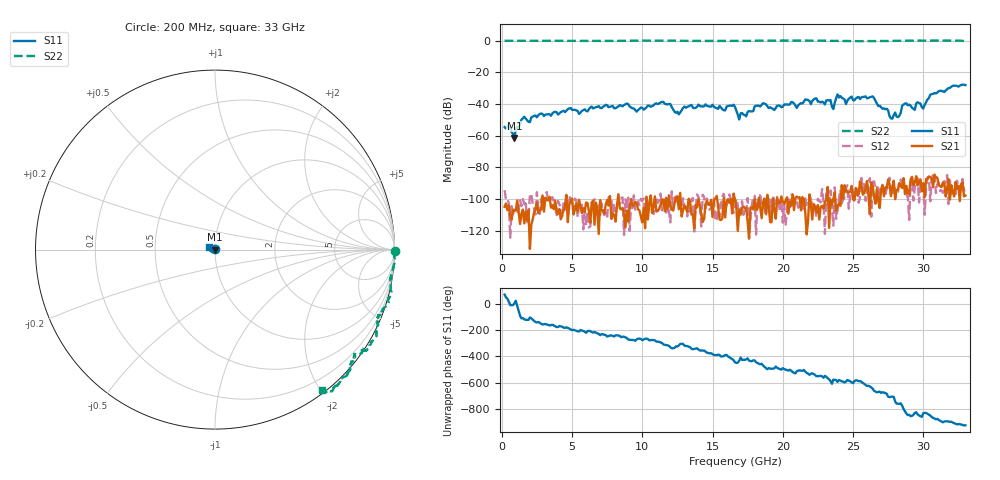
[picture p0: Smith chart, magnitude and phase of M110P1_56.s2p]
# GHZ S RI R 50
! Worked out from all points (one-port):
!   329 points, 200 MHz to 33 GHz, reference 50 ohm
!   lowest |S11| = -61.3 dB at 900 MHz (marker M1), VSWR 1.00, Z = 50.1 + j0.00691 ohm
!   |S11| at or under -10 dB: start of sweep to end of sweep
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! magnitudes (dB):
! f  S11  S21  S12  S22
! 200 MHz  -54.5  -105.0  -94.4  0.0
! 500 MHz  -52.9  -104.0  -103.0  0.0
! 900 MHz  -61.3  -107.5  -106.7  0.0
! 1.6 GHz  -48.0  -115.4  -103.2  0.0
! 5.7 GHz  -44.3  -108.9  -103.6  -0.1
! 11.2 GHz  -39.5  -106.2  -101.0  0.1
! 12.6 GHz  -46.5  -106.4  -104.4  0.0
! 13.5 GHz  -40.5  -109.7  -100.2  -0.1
! 16.6 GHz  -41.8  -100.4  -105.1  -0.1
! 16.9 GHz  -49.8  -106.6  -110.1  -0.1
! 18.6 GHz  -39.5  -101.9  -105.2  0.1
! 19.4 GHz  -43.8  -106.7  -100.8  0.0
! 22.1 GHz  -38.0  -112.9  -105.7  0.1
! 23.4 GHz  -37.5  -100.4  -94.6  -0.1
! 23.6 GHz  -43.2  -99.9  -116.8  0.0
! 23.9 GHz  -33.9  -104.7  -106.9  -0.1
! 24.5 GHz  -40.0  -94.8  -93.2  -0.1
! 26.4 GHz  -35.1  -91.5  -89.3  -0.2
! 27.6 GHz  -47.7  -90.6  -86.5  -0.1
! 28.7 GHz  -39.7  -96.8  -95.4  0.1
! 30 GHz  -42.9  -90.0  -90.1  0.1
! 33 GHz  -28.0  -97.8  -94.4  -0.2
